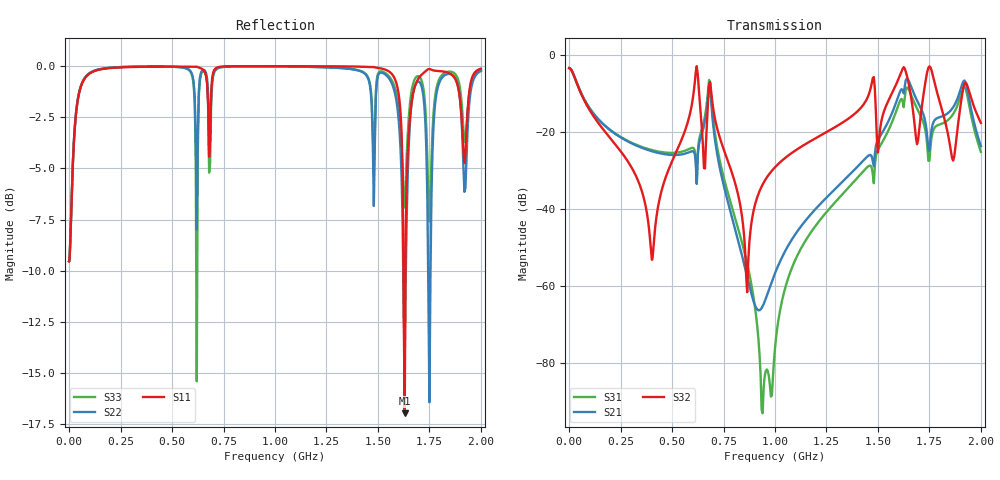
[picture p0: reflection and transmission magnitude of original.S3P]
!Generated from: C:\Users\al7k7\Desktop\Is tool\via_throughhole.spd
! Port1_ic_port::pwr
! Port2_decap_port1_1::pwr
! Port3_decap_port2_1::pwr
!Layout Workbench Version: 24.1.0.10141.541387  000
!Computer Host Name: RSBDG9GT3
!TouchstoneFormatFlag = 1
! GNDNET gnd
! NETSLIST
#	Hz	S	RI	R	50
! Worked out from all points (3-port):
!   585 points, 10 kHz to 2 GHz, reference 50 ohm
!   strongest paths, dB at 10 kHz, 224 MHz, 540 MHz, 1.27 GHz, 2 GHz:
!     S32: -3.5, -23.3, -22.9, -19.5, -17.7
!     S21: -3.5, -20.6, -26.0, -36.1, -23.8
!     S31: -3.5, -20.5, -25.3, -39.7, -25.3
!   lowest |S11| = -17.0 dB at 1.63 GHz (marker M1), VSWR 1.33, Z = 42.1 - j10.5 ohm
!   |S11| at or under -10 dB: 1.624 GHz to 1.634 GHz (10.32 MHz wide, 0.634 % of centre)
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10000  -0.3333 -0.000212  0.6666 -0.000215  0.6666 -0.000215
       0.6666 -0.000215  -0.3333 -0.000212  0.6667 -0.000214
       0.6666 -0.000215  0.6667 -0.000214  -0.3333 -0.000212
4.02e8  -0.9962 -0.0095  -0.00178 -0.0555  -0.00182 -0.0576
        -0.00178 -0.0555  -0.9948 0.0714  0.00213 -0.000434
        -0.00182 -0.0576  0.00213 -0.000434  -0.9947 0.0699
6.8e8  -0.5872 0.1259  -0.3777 -0.1247  -0.4427 -0.1497
       -0.3777 -0.1247  -0.6455 0.1765  0.4054 0.0592
       -0.4427 -0.1497  0.4054 0.0592  -0.5171 0.1839
8.65e8  -0.9983 0.0379  6.18e-05 0.0013  4.5e-05 0.00192
        6.18e-05 0.0013  -0.9838 0.1704  0.000755 0.000326
        4.5e-05 0.00192  0.000755 0.000326  -0.9895 0.1333
9.35e8  -0.9977 0.0522  7.83e-05 0.000506  -1.4e-05 2.01e-05
        7.83e-05 0.000506  -0.9777 0.2013  0.00416 0.0189
        -1.4e-05 2.01e-05  0.00416 0.0189  -0.9847 0.1644
1.005e9  -0.9969 0.0649  0.000299 0.00154  8.4e-05 0.000191
         0.000299 0.00154  -0.9708 0.2301  0.00815 0.0346
         8.4e-05 0.000191  0.00815 0.0346  -0.9792 0.1919
1.63e9  -0.0715 -0.1224  0.3819 0.00326  0.2703 0.0261
        0.3819 0.00326  -0.1862 0.0487  0.6291 -0.2019
        0.2703 0.0261  0.6291 -0.2019  -0.4391 0.104
1.69e9  -0.9087 -0.1352  -0.00032 -0.2529  0.000151 -0.1986
        -0.00032 -0.2529  -0.8715 0.2738  0.0661 -0.018
        0.000151 -0.1986  0.0661 -0.018  -0.9018 0.277
1.75e9  -0.9834 0.0103  0.0152 -0.0543  0.0133 -0.0397
        0.0152 -0.0543  -0.1489 0.0241  0.6633 -0.2329
        0.0133 -0.0397  0.6633 -0.2329  -0.4025 0.1108
2e9  -0.9851 -0.0113  -0.00628 0.0644  -0.00546 0.0542
     -0.00628 0.0644  -0.9515 0.2009  -0.0147 -0.1288
     -0.00546 0.0542  -0.0147 -0.1288  -0.9487 0.2373
